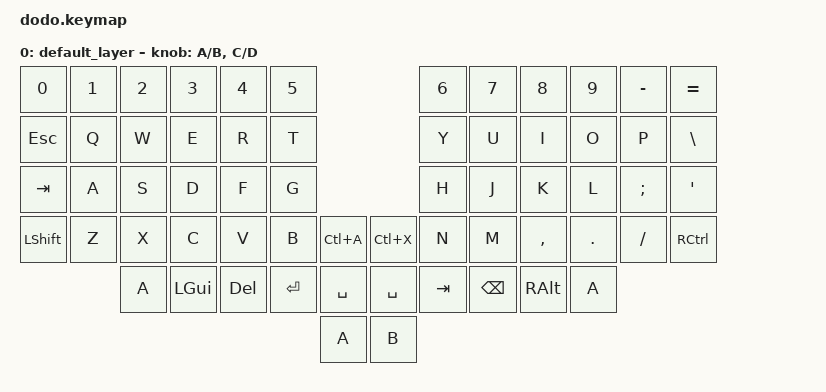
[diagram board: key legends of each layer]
#include <behaviors.dtsi>
#include <dt-bindings/zmk/keys.h>

/ {
    keymap {
        compatible = "zmk,keymap";

        default_layer {
            bindings = <
    &kp N0     &kp N1   &kp N2   &kp N3    &kp N4    &kp N5                         &kp N6    &kp N7    &kp N8    &kp 9     &kp MINUS &kp EQUAL
    &kp ESC    &kp Q    &kp W    &kp E     &kp R     &kp T                          &kp Y     &kp U     &kp I     &kp O     &kp P     &kp BSLH
    &kp TAB    &kp A    &kp S    &kp D     &kp F     &kp G                          &kp H     &kp J     &kp K     &kp L     &kp SEMI  &kp SQT
    &kp LSHIFT &kp Z    &kp X    &kp C     &kp V     &kp B      &kp LC(A) &kp LC(X) &kp N     &kp M     &kp COMMA &kp DOT   &kp FSLH  &kp RCTRL
                        &kp A    &kp LGUI  &kp DEL   &kp RET    &kp SPACE &kp SPACE &kp TAB   &kp BSPC  &kp RALT  &kp A
                                                                &kp A     &kp B
            >;

            sensor-bindings = <&inc_dec_kp A B &inc_dec_kp C D>;
        };
    };
};
